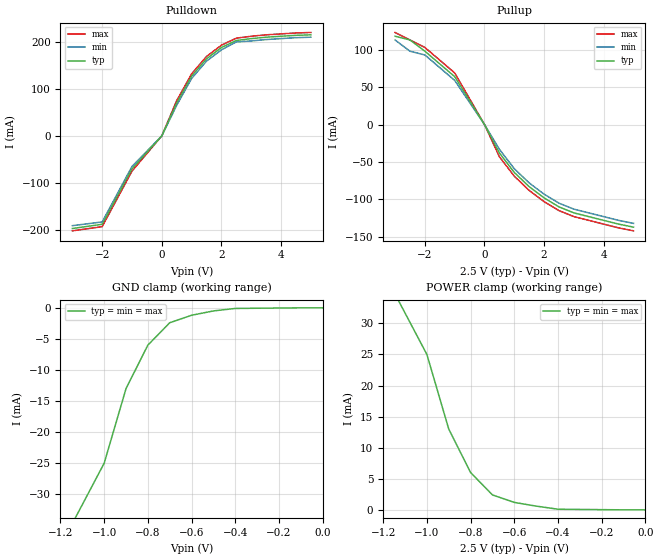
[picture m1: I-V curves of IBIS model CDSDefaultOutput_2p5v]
|   File Information
[IBIS Ver]   4.2
[File Name]   cds_bnc8.ibs
[File Rev]   1.0
[Copyright]   (c) Copyright 2017 Cadence
|   BNC8
[Component]   BNC8
[Manufacturer]   Cadence
[Package]
| Variable   Typ   Min   Max
R_pkg   10m   10m   10m
L_pkg   0H   0H   0H
C_pkg   0F   0F   0F
[Pin]  signal_name   model_name   R_pin   L_pin   C_pin
 5   Signal1   CDSDefaultOutput_2p5v 10m   0H   0F
 pwr   Power   Power   10m   0H   0F
 ngnd   GND   GND   10m   0H   0F
[Pin Mapping] pulldown_ref pullup_ref gnd_clamp_ref power_clamp_ref ext_ref
 5   ngnd   pwr   NC   NC   NC
 pwr   NC   pwr   NC   NC   NC
 ngnd   ngnd   NC   NC   NC   NC
| Models and submodels in the file (1): CDSDefaultOutput_2p5v (Output)
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|   CDSDefaultOutput_2p5v
[Model]   CDSDefaultOutput_2p5v
Model_type   Output
Polarity   Non-Inverting
Enable   Active-High
Vmeas   = 1.25V
Cref   = 10pF
Rref   = 500
Vref   = 0V
| Variable   Typ   Min   Max
C_comp   3pF   2pF   4pF
| Variable   Typ   Min   Max
[Temperature Range]   50   10   100
[Pullup Reference]   2.5V   2.25V   2.75V
[Pulldown Reference]   0V   0V   0V
[POWER Clamp Reference]  2.5V   2.25V   2.75V
[GND Clamp Reference]   0V   0V   0V
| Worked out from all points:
|   slope of the pulldown table from 0 to 0.375 V, typ, clamps not added: 7.14 ohm
|   slope of the pullup table from 0 to 0.375 V, typ, clamps not added: 13.2 ohm
|   GND clamp passes 1 mA (typ) near -0.57 V on its own axis
|   POWER clamp passes 1 mA (typ) near -0.57 V on its own axis
[Pulldown]
| Voltage   I(Typ)   I(Min)   I(Max)
-3V       -197mA     -191mA     -202mA
-2V       -188mA     -183mA     -193mA
-1V       -70mA      -65mA      -75mA
0V        0A         0A         0A
500mV     70mA       65mA       75mA
1V        127mA      122mA      132mA
1.5V      164mA      159mA      169mA
2V        188mA      183mA      193mA
2.5V      203mA      200mA      208mA
3.5V      210mA      205mA      215mA
5V        215mA      210mA      220mA
[Pullup]
| Voltage   I(Typ)   I(Min)   I(Max)
-3V       118mA      113mA      123mA
-2.5V     113mA      98mA       113mA
-2V       98mA       93mA       103mA
-1V       64mA       59mA       69mA
0V        0A         0A         0A
500mV     -38mA      -33mA      -43mA
1V        -64mA      -59mA      -69mA
1.5V      -83mA      -78mA      -88mA
2V        -98mA      -93mA      -103mA
2.5V      -110mA     -105mA     -115mA
3V        -118mA     -113mA     -123mA
5V        -137mA     -132mA     -142mA
[GND Clamp]
| Voltage   I(Typ)   I(Min)   I(Max)
-2.5V     -125mA     -125mA     -125mA
-1V       -25mA      -25mA      -25mA
-900mV    -13mA      -13mA      -13mA
-800mV    -6mA       -6mA       -6mA
-700mV    -2.4mA     -2.4mA     -2.4mA
-600mV    -1.2mA     -1.2mA     -1.2mA
-500mV    -500uA     -500uA     -500uA
-400mV    -100uA     -100uA     -100uA
-100mV    0A         0A         0A
0V        0A         0A         0A
[POWER Clamp]
| Voltage   I(Typ)   I(Min)   I(Max)
-2.5V     125mA      125mA      125mA
-1V       25mA       25mA       25mA
-900mV    13mA       13mA       13mA
-800mV    6mA        6mA        6mA
-700mV    2.4mA      2.4mA      2.4mA
-600mV    1.2mA      1.2mA      1.2mA
-500mV    600uA      600uA      600uA
-400mV    100uA      100uA      100uA
-100mV    0A         0A         0A
0V        0A         0A         0A
[Ramp]
|   Typ   Min   Max
dV/dt_r  1.5/300p   1.35/405p   1.65/264p
dV/dt_f  1.5/300p   1.35/405p   1.65/264p
